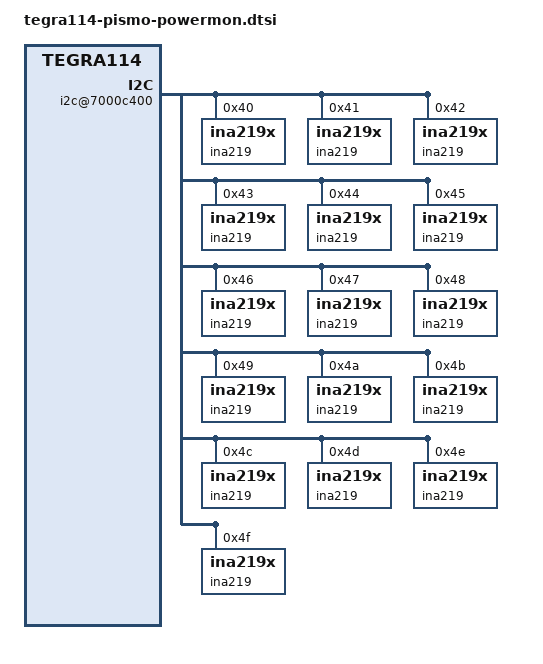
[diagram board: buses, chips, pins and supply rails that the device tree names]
/ {
	i2c@7000c400 {
		ina219@40{
			compatible = "ina219x";
			reg = <0x40>;
			ti,rail-name = "VDD_12V_DCIN_RS";
			ti,continuous-config = <0x3FFF>;
			ti,trigger-config = <0x01DB>;
			ti,calibration-data = <0xAEC0>;
			ti,power-lsb = <1831>;
			ti,divisor = <20>;
			ti,shunt-resistor-mohm = <10>;
			ti,precision-multiplier = <1000>;
		};

		ina219@41{
			compatible = "ina219x";
			reg = <0x41>;
			ti,rail-name = "VDD_AC_BAT_VIN1";
			ti,continuous-config = <0x3FFF>;
			ti,trigger-config = <0x01DB>;
			ti,calibration-data = <0xFFFE>;
			ti,power-lsb = <1250>;
			ti,divisor = <20>;
			ti,shunt-resistor-mohm = <10>;
			ti,precision-multiplier = <1000>;
		};

		ina219@42{
			compatible = "ina219x";
			reg = <0x42>;
			ti,rail-name = "VDD_5V0_SYS";
			ti,continuous-config = <0x3FFF>;
			ti,trigger-config = <0x01DB>;
			ti,calibration-data = <0xFFFE>;
			ti,power-lsb = <2500>;
			ti,divisor = <20>;
			ti,shunt-resistor-mohm = <5>;
			ti,precision-multiplier = <1000>;
		};

		ina219@43{
			compatible = "ina219x";
			reg = <0x43>;
			ti,rail-name = "VDD_3V3_SYS";
			ti,continuous-config = <0x3FFF>;
			ti,trigger-config = <0x01DB>;
			ti,calibration-data = <0xFFFE>;
			ti,power-lsb = <2500>;
			ti,divisor = <20>;
			ti,shunt-resistor-mohm = <5>;
			ti,precision-multiplier = <1000>;
		};

		ina219@44{
			compatible = "ina219x";
			reg = <0x44>;
			ti,rail-name = "VDD_3V3_SYS_VIN4_5_7";
			ti,continuous-config = <0x3FFF>;
			ti,trigger-config = <0x01DB>;
			ti,calibration-data = <0xFFFE>;
			ti,power-lsb = <1250>;
			ti,divisor = <20>;
			ti,shunt-resistor-mohm = <10>;
			ti,precision-multiplier = <1000>;
		};

		ina219@45{
			compatible = "ina219x";
			reg = <0x45>;
			ti,rail-name = "AVDD_USB_HDMI";
			ti,continuous-config = <0x3FFF>;
			ti,trigger-config = <0x01DB>;
			ti,calibration-data = <0xFFFE>;
			ti,power-lsb = <1250>;
			ti,divisor = <20>;
			ti,shunt-resistor-mohm = <10>;
			ti,precision-multiplier = <1000>;
		};

		ina219@46{
			compatible = "ina219x";
			reg = <0x46>;
			ti,rail-name = "VDD_AC_BAT_D1";
			ti,continuous-config = <0x3FFF>;
			ti,trigger-config = <0x01DB>;
			ti,calibration-data = <0x7CD2>;
			ti,power-lsb = <2563>;
			ti,divisor = <20>;
			ti,shunt-resistor-mohm = <10>;
			ti,precision-multiplier = <1000>;
		};

		ina219@47{
			compatible = "ina219x";
			reg = <0x47>;
			ti,rail-name = "VDD_AO_SMPS12_IN";
			ti,continuous-config = <0x3FFF>;
			ti,trigger-config = <0x01DB>;
			ti,calibration-data = <0xAEC0>;
			ti,power-lsb = <1831>;
			ti,divisor = <20>;
			ti,shunt-resistor-mohm = <10>;
			ti,precision-multiplier = <1000>;
		};

		ina219@48{
			compatible = "ina219x";
			reg = <0x48>;
			ti,rail-name = "VDD_3V3_SYS_SMPS45_IN";
			ti,continuous-config = <0x3FFF>;
			ti,trigger-config = <0x01DB>;
			ti,calibration-data = <0xFFFE>;
			ti,power-lsb = <1250>;
			ti,divisor = <20>;
			ti,shunt-resistor-mohm = <10>;
			ti,precision-multiplier = <1000>;
		};

		ina219@49{
			compatible = "ina219x";
			reg = <0x49>;
			ti,rail-name = "VDD_AO_SMPS2_IN";
			ti,continuous-config = <0x3FFF>;
			ti,trigger-config = <0x01DB>;
			ti,calibration-data = <0xFFFE>;
			ti,power-lsb = <1250>;
			ti,divisor = <20>;
			ti,shunt-resistor-mohm = <10>;
			ti,precision-multiplier = <1000>;
		};

		ina219@4a{
			compatible = "ina219x";
			reg = <0x4a>;
			ti,rail-name = "VDDIO_HV_AP";
			ti,continuous-config = <0x3FFF>;
			ti,trigger-config = <0x01DB>;
			ti,calibration-data = <0xFFFE>;
			ti,power-lsb = <1250>;
			ti,divisor = <20>;
			ti,shunt-resistor-mohm = <10>;
			ti,precision-multiplier = <1000>;
		};

		ina219@4b{
			compatible = "ina219x";
			reg = <0x4b>;
			ti,rail-name = "VDD_1V8_LDO3_IN";
			ti,continuous-config = <0x3FFF>;
			ti,trigger-config = <0x01DB>;
			ti,calibration-data = <0xFFFE>;
			ti,power-lsb = <1250>;
			ti,divisor = <20>;
			ti,shunt-resistor-mohm = <10>;
			ti,precision-multiplier = <1000>;
		};

		ina219@4c{
			compatible = "ina219x";
			reg = <0x4c>;
			ti,rail-name = "VDD_3V3_SYS_LDO4_IN";
			ti,continuous-config = <0x3FFF>;
			ti,trigger-config = <0x01DB>;
			ti,calibration-data = <0xFFFE>;
			ti,power-lsb = <1250>;
			ti,divisor = <20>;
			ti,shunt-resistor-mohm = <10>;
			ti,precision-multiplier = <1000>;
		};

		ina219@4d{
			compatible = "ina219x";
			reg = <0x4d>;
			ti,rail-name = "VDD_AO_LDO8_IN";
			ti,continuous-config = <0x3FFF>;
			ti,trigger-config = <0x01DB>;
			ti,calibration-data = <0xFFFE>;
			ti,power-lsb = <1250>;
			ti,divisor = <20>;
			ti,shunt-resistor-mohm = <10>;
			ti,precision-multiplier = <1000>;
		};

		ina219@4e{
			compatible = "ina219x";
			reg = <0x4e>;
			ti,rail-name = "VDD_1V8_AP";
			ti,continuous-config = <0x3FFF>;
			ti,trigger-config = <0x01DB>;
			ti,calibration-data = <0xFFFE>;
			ti,power-lsb = <1250>;
			ti,divisor = <20>;
			ti,shunt-resistor-mohm = <10>;
			ti,precision-multiplier = <1000>;
		};

		ina219@4f{
			compatible = "ina219x";
			reg = <0x4f>;
			ti,rail-name = "VDD_1V8_DSM";
			ti,continuous-config = <0x3FFF>;
			ti,trigger-config = <0x01DB>;
			ti,calibration-data = <0xFFFE>;
			ti,power-lsb = <1250>;
			ti,divisor = <20>;
			ti,shunt-resistor-mohm = <10>;
			ti,precision-multiplier = <1000>;
		};
	};
};
